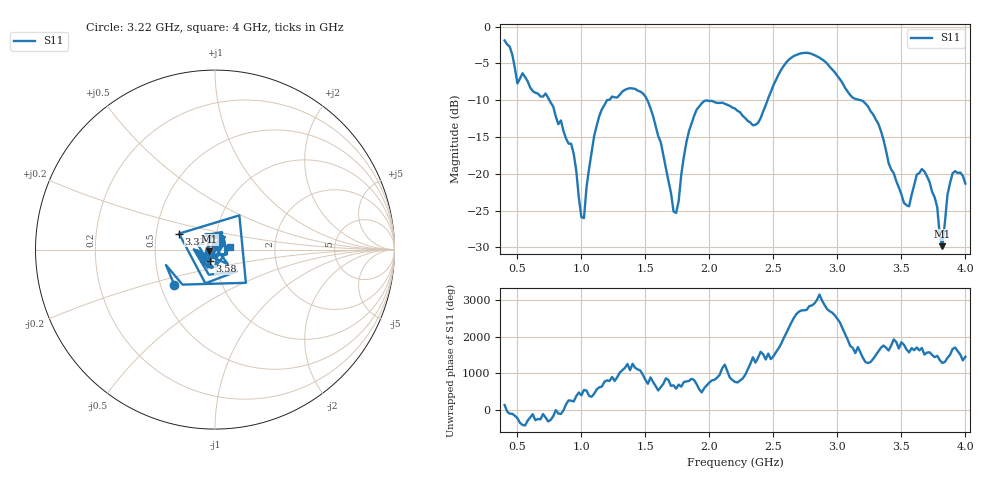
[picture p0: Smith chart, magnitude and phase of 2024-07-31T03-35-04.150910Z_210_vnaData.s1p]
!Created with skrf (http://scikit-rf.org).
# Hz S RI R 50.0
!freq ReS11 ImS11
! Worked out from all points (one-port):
!   181 points, 400 MHz to 4 GHz, reference 50 ohm
!   lowest |S11| = -29.8 dB at 3.82 GHz (marker M1), VSWR 1.07, Z = 47 - j0.948 ohm
!   |S11| at or under -10 dB: 750.5 MHz to 1.2 GHz (449.1 MHz wide, 46.1 % of centre); 1.515 GHz to 2.454 GHz (938.4 MHz wide, 47.3 % of centre); 3.183 GHz to end of sweep
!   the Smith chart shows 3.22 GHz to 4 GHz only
!   S11 on the Smith chart (normalised r, x): 3.22 GHz: 0.59, -0.26; 3.32 GHz: 0.66, +0.12; 3.58 GHz: 0.93, -0.12; 4 GHz: 1.18, +0.03
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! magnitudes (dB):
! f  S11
! 400 MHz  -1.9
! 500 MHz  -7.7
! 720 MHz  -9.1
! 860 MHz  -14.2
! 940 MHz  -17.3
! 1.02 GHz  -26.0
! 1.14 GHz  -12.1
! 1.3 GHz  -9.2
! 1.5 GHz  -9.5
! 1.62 GHz  -15.7
! 1.72 GHz  -25.1
! 1.76 GHz  -23.7
! 1.82 GHz  -15.7
! 1.9 GHz  -11.3
! 2.2 GHz  -11.1
! 2.38 GHz  -13.1
! 2.66 GHz  -4.0
! 2.88 GHz  -4.4
! 3.1 GHz  -9.3
! 3.22 GHz  -10.5
! 3.32 GHz  -13.2
! 3.56 GHz  -24.4
! 3.58 GHz  -22.8
! 3.68 GHz  -19.7
! 3.78 GHz  -24.5
! 3.82 GHz  -29.8
! 3.9 GHz  -19.9
! 4 GHz  -21.3
